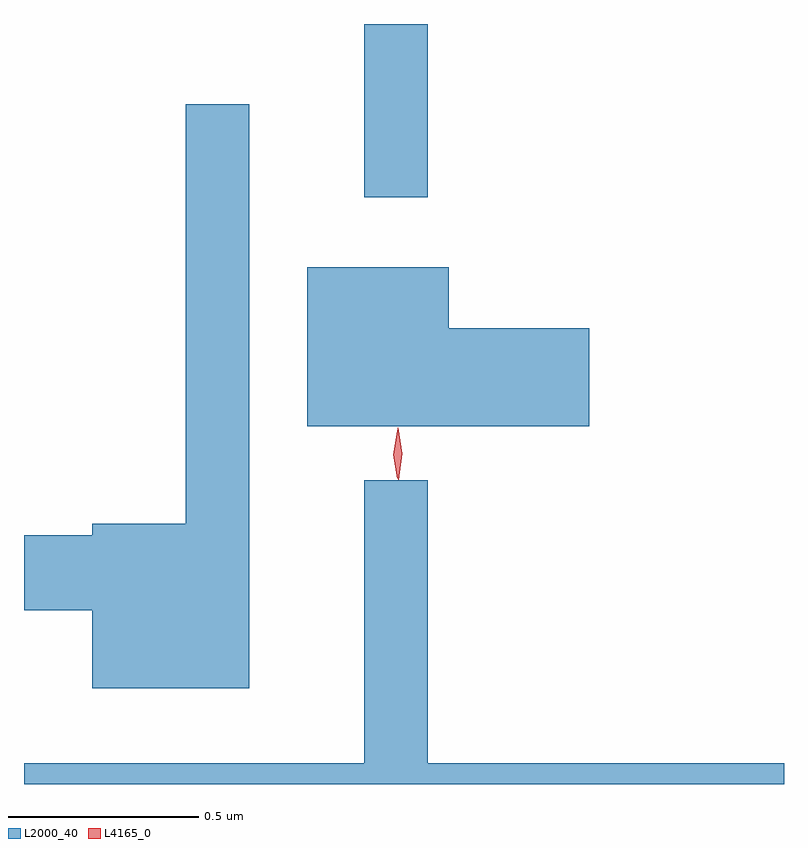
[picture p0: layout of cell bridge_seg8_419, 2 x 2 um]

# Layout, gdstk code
import gdstk
lib = gdstk.Library(unit=1e-6, precision=1e-09)
def R(c, l, rs):  # rectangles x0, y0, x1, y1
    for r in rs: c.add(gdstk.rectangle(r[:2], r[2:], *l))
def P(c, l, *ps):  # polygons
    for p in ps: c.add(gdstk.Polygon(p, *l))
L2000_40 = (2000, 40)
L4165_0 = (4165, 0)

bridge_seg8_419 = lib.new_cell('bridge_seg8_419')
R(bridge_seg8_419, L2000_40, [(697.381,1831.513,697.549,1831.969)])
P(bridge_seg8_419, L2000_40, [(697.079,1831.758),(696.911,1831.758),(696.911,1830.654),(696.666,1830.654),(696.666,1830.624),(696.486,1830.624),(696.486,1830.426),(696.666,1830.426),(696.666,1830.221),(697.079,1830.221)],
  [(697.974,1831.169),(697.604,1831.169),(697.604,1831.329),(697.231,1831.329),(697.231,1830.911),(697.974,1830.911)],
  [(696.486,1829.969),(698.486,1829.969),(698.486,1830.024),(697.549,1830.024),(697.549,1830.768),(697.381,1830.768),(697.381,1830.024),(696.486,1830.024)])
P(bridge_seg8_419, L4165_0, [(697.471,1830.77),(697.471,1830.77),(697.461,1830.838),(697.47,1830.906),(697.47,1830.906),(697.471,1830.906),(697.481,1830.838),(697.472,1830.77)],
  [(697.468,1830.773),(697.468,1830.773),(697.458,1830.836),(697.468,1830.899),(697.468,1830.9),(697.469,1830.899),(697.478,1830.836),(697.469,1830.773)])

lib.write_gds('bridge_seg8_419.gds')
